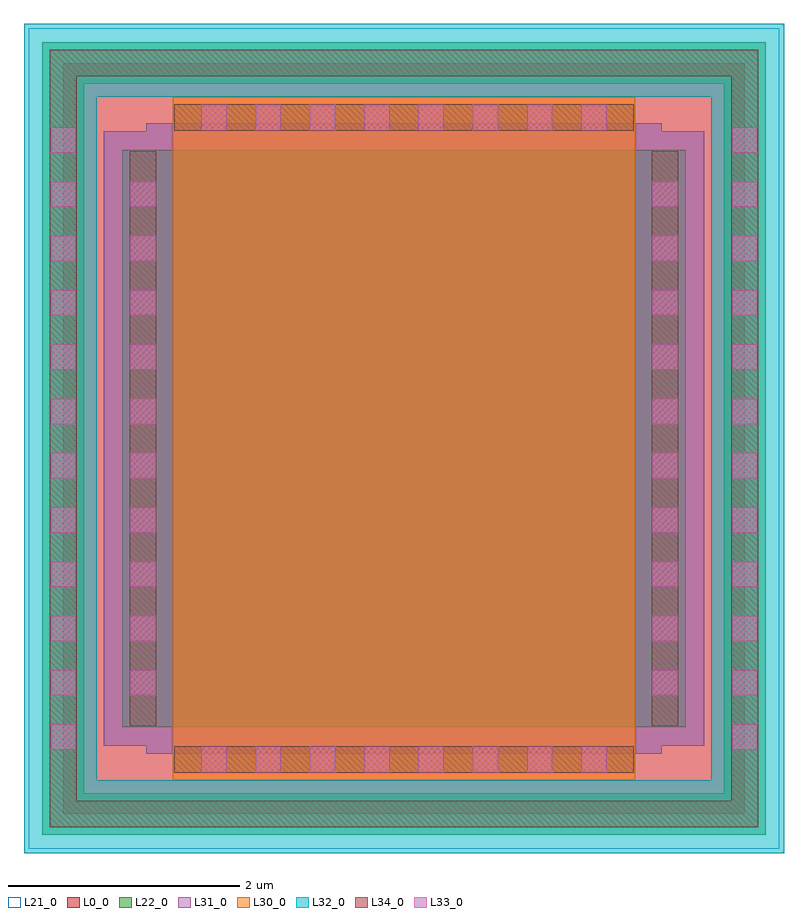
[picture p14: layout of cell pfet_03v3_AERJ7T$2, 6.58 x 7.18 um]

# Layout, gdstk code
import gdstk
lib = gdstk.Library(unit=1e-6, precision=1e-09)
def R(c, l, rs):  # rectangles x0, y0, x1, y1
    for r in rs: c.add(gdstk.rectangle(r[:2], r[2:], *l))
def A(c, l, x, y, w, h, nx, ny, dx, dy):  # array of equal rectangles
    R(c, l, [(x+i*dx, y+j*dy, x+i*dx+w, y+j*dy+h) for i in range(nx) for j in range(ny)])
L0_0 = (0, 0)
L21_0 = (21, 0)
L22_0 = (22, 0)
L30_0 = (30, 0)
L31_0 = (31, 0)
L32_0 = (32, 0)
L33_0 = (33, 0)
L34_0 = (34, 0)

pfet_03v3_aerj7t_2 = lib.new_cell('pfet_03v3_AERJ7T$2')
R(pfet_03v3_aerj7t_2, L0_0, [(-2.95,-3.25,2.95,3.25)])
R(pfet_03v3_aerj7t_2, L21_0, [(-3.25,-3.55,3.25,3.55)])
R(pfet_03v3_aerj7t_2, L22_0, [(-3.13,-3.43,3.13,-3.07), (-3.13,-3.07,-2.77,3.07), (2.77,-3.07,3.13,3.07), (-2.44,-2.5,2.44,2.5), (-3.13,3.07,3.13,3.43)])
R(pfet_03v3_aerj7t_2, L30_0, [(-2,-2.96,2,2.96)])
R(pfet_03v3_aerj7t_2, L31_0, [(-2.23,-2.73,2.23,-2.66), (-2.6,-2.66,2.6,2.66), (-2.23,2.66,2.23,2.73)])
R(pfet_03v3_aerj7t_2, L32_0, [(-3.29,-3.59,3.29,-2.96), (-3.29,-2.96,-2.66,2.96), (2.66,-2.96,3.29,2.96), (-3.29,2.96,3.29,3.59)])
A(pfet_03v3_aerj7t_2, L33_0, -1.755, -2.89, 0.22, 0.22, 8, 2, 0.47, 5.56)
A(pfet_03v3_aerj7t_2, L33_0, -3.06, -2.695, 0.22, 0.22, 1, 12, 0, 0.47)
A(pfet_03v3_aerj7t_2, L33_0, 2.84, -2.695, 0.22, 0.22, 1, 12, 0, 0.47)
A(pfet_03v3_aerj7t_2, L33_0, -2.37, -2.225, 0.22, 0.22, 1, 10, 0, 0.47)
A(pfet_03v3_aerj7t_2, L33_0, 2.15, -2.225, 0.22, 0.22, 1, 10, 0, 0.47)
R(pfet_03v3_aerj7t_2, L34_0, [(-3.065,-3.365,3.065,-3.135), (-3.065,-3.135,-2.835,3.135), (2.835,-3.135,3.065,3.135), (-1.99,-2.895,1.99,-2.665), (-2.375,-2.49,-2.145,2.49), (2.145,-2.49,2.375,2.49), (-1.99,2.665,1.99,2.895), (-3.065,3.135,3.065,3.365)])

lib.write_gds('pfet_03v3_AERJ7T_2.gds')
